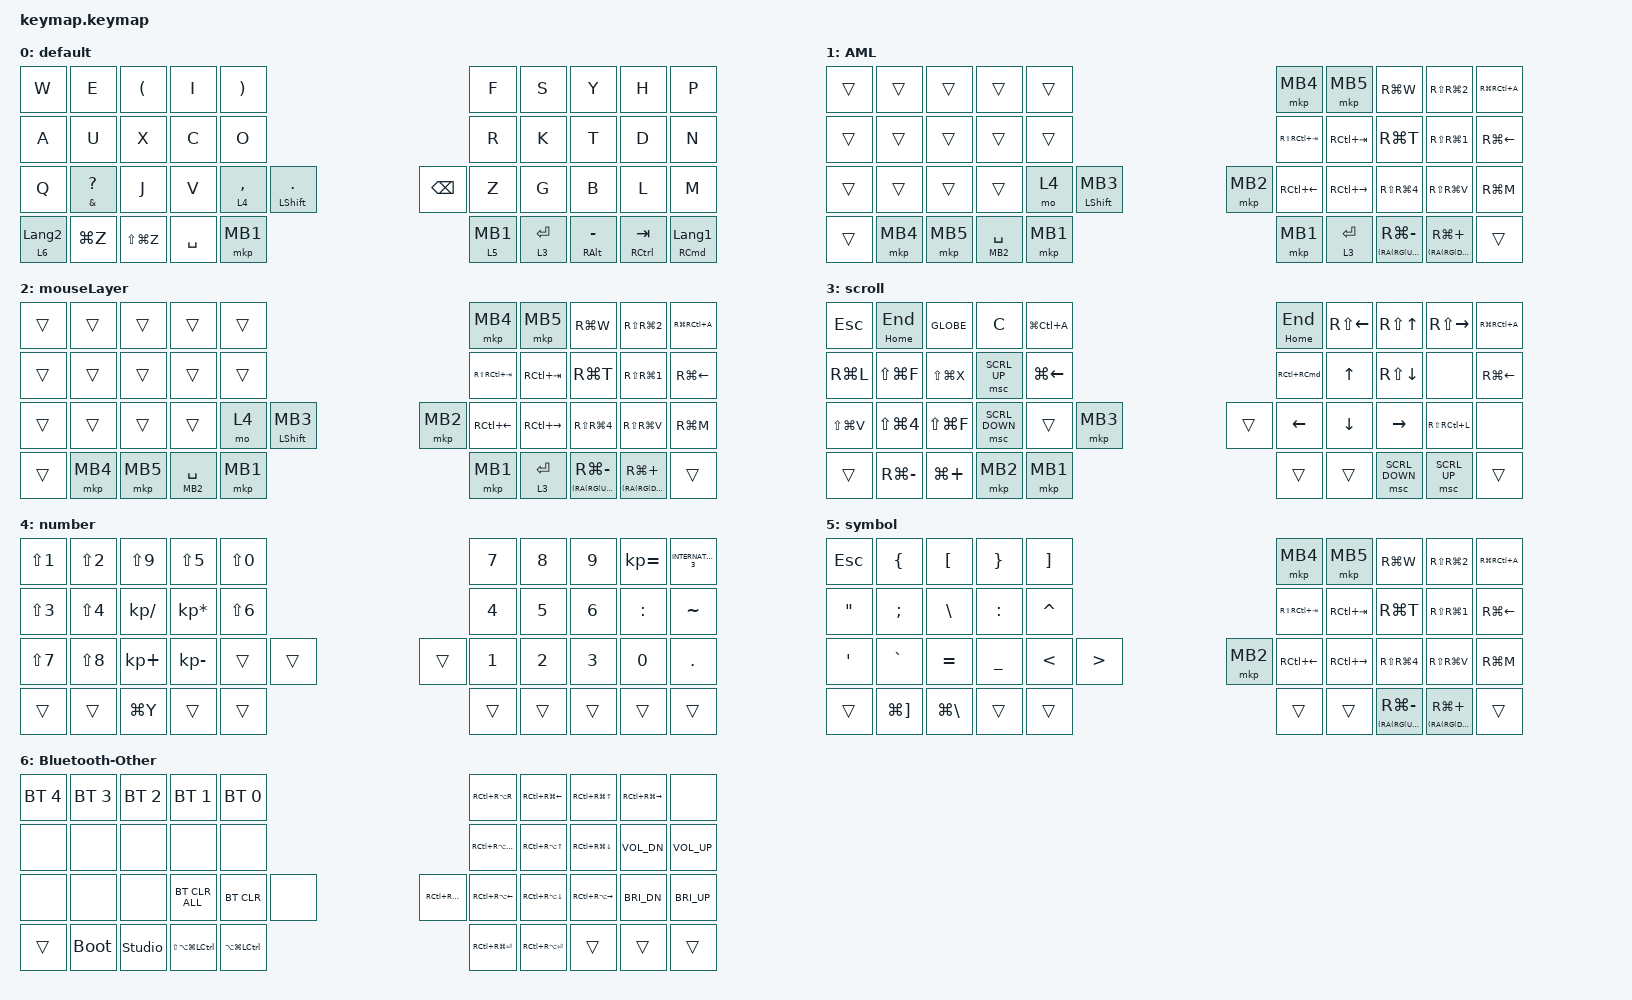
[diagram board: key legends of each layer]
#include <behaviors.dtsi>
#include <dt-bindings/zmk/bt.h>
#include <dt-bindings/zmk/keys.h>
#include <dt-bindings/zmk/pointing.h>

/ {
    behaviors {
        mouse_layer: mouse_layer {
            compatible = "zmk,behavior-hold-tap";
            #binding-cells = <2>;
            tapping-term-ms = <180>;
            bindings = <&mo>, <&mkp>;
        };

        mousekp_kp: mousekp_kp {
            compatible = "zmk,behavior-hold-tap";
            label = "MOUSEKP_KP";
            bindings = <&mkp>, <&kp>;

            #binding-cells = <2>;
            tapping-term-ms = <180>;
        };

        kp_mousekp: kp_mousekp {
            compatible = "zmk,behavior-hold-tap";
            label = "KP_MOUSEKP";
            bindings = <&kp>, <&mkp>;

            #binding-cells = <2>;
            tapping-term-ms = <180>;
        };
    };

    combos {
        compatible = "zmk,combos";

        mouse-Layer {
            bindings = <&tog 2>;
            key-positions = <15 16>;
        };

        Scroll {
            bindings = <&tog 3>;
            key-positions = <28 27>;
        };

        Number {
            bindings = <&tog 4>;
            key-positions = <6 7>;
        };

        Symbol {
            bindings = <&tog 5>;
            key-positions = <16 17>;
        };

        BluetoothOther {
            bindings = <&tog 6>;
            key-positions = <28 29>;
        };

        ResetLayer {
            bindings = <&to 0>;
            key-positions = <5 6>;
        };

        MouseBottun3 {
            bindings = <&mkp MB3>;
            key-positions = <38 26>;
        };

        Reload {
            bindings = <&kp RG(R)>;
            key-positions = <37 38>;
        };

        Delete {
            bindings = <&kp DELETE>;
            key-positions = <26 27>;
        };

        BackSpace {
            bindings = <&kp BACKSPACE>;
            key-positions = <26 15>;
        };
    };

    keymap {
        compatible = "zmk,keymap";

        default {
            bindings = <
&kp W             &kp E                   &kp LEFT_PARENTHESIS  &kp I  &kp RIGHT_PARENTHESIS                                                                      &kp F  &kp S  &kp Y                &kp H                  &kp P
&kp A             &kp U                   &kp X                 &kp C  &kp O                                                                                      &kp R  &kp K  &kp T                &kp D                  &kp N
&kp Q             &mt AMPERSAND QUESTION  &kp J                 &kp V  &lt 4 COMMA            &mt LEFT_SHIFT PERIOD                                &kp BACKSPACE  &kp Z  &kp G  &kp B                &kp L                  &kp M
&lt 6 LANGUAGE_2  &kp LG(Z)               &kp LS(LG(Z))                                       &kp SPACE              &mkp MB1  &mouse_layer 5 MB1  &lt 3 ENTER                  &mt RIGHT_ALT MINUS  &mt RIGHT_CONTROL TAB  &mt RIGHT_COMMAND LANGUAGE_1
            >;
        };

        AML {
            bindings = <
&trans  &trans    &trans    &trans  &trans                                                               &mkp MB4            &mkp MB5             &kp RG(W)                         &kp RS(RG(NUMBER_2))               &kp RG(RC(A))
&trans  &trans    &trans    &trans  &trans                                                               &kp RS(RC(TAB))     &kp RC(TAB)          &kp RG(T)                         &kp RS(RG(NUMBER_1))               &kp RG(LEFT)
&trans  &trans    &trans    &trans  &mo 4   &kp_mousekp LEFT_SHIFT MB3                      &mkp MB2     &kp RC(LEFT_ARROW)  &kp RC(RIGHT_ARROW)  &kp RS(RG(NUMBER_4))              &kp RS(RG(V))                      &kp RG(M)
&trans  &mkp MB4  &mkp MB5                  &mousekp_kp MB2 SPACE       &mkp MB1  &mkp MB1  &lt 3 ENTER                                           &mt (RA(RG(UP_ARROW))) RG(MINUS)  &mt (RA(RG(DOWN_ARROW))) RG(PLUS)  &trans
            >;
        };

        mouseLayer {
            bindings = <
&trans  &trans    &trans    &trans  &trans                                                               &mkp MB4         &mkp MB5       &kp RG(W)                   &kp RS(RG(NUMBER_2))         &kp RG(RC(A))
&trans  &trans    &trans    &trans  &trans                                                               &kp RS(RC(TAB))  &kp RC(TAB)    &kp RG(T)                   &kp RS(RG(NUMBER_1))         &kp RG(LEFT)
&trans  &trans    &trans    &trans  &mo 4   &kp_mousekp LEFT_SHIFT MB3                      &mkp MB2     &kp RC(LEFT)     &kp RC(RIGHT)  &kp RS(RG(NUMBER_4))        &kp RS(RG(V))                &kp RG(M)
&trans  &mkp MB4  &mkp MB5                  &mousekp_kp MB2 SPACE       &mkp MB1  &mkp MB1  &lt 3 ENTER                                  &mt (RA(RG(UP))) RG(MINUS)  &mt (RA(RG(DOWN))) RG(PLUS)  &trans
            >;
        };

        scroll {
            bindings = <
&kp ESC        &mt HOME END    &kp GLOBE      &kp C           &kp LG(LC(A))                                      &mt HOME END           &kp RS(LEFT)  &kp RS(UP)      &kp RS(RIGHT)  &kp RG(RC(A))
&kp RG(L)      &kp LS(LG(F))   &kp LS(LG(X))  &msc SCRL_UP    &kp LG(LEFT)                                       &kp RC(RIGHT_COMMAND)  &kp UP        &kp RS(DOWN)    &none          &kp RG(LEFT)
&kp LS(LG(V))  &kp LS(LG(N4))  &kp LS(LG(F))  &msc SCRL_DOWN  &trans         &mkp MB3                    &trans  &kp LEFT               &kp DOWN      &kp RIGHT       &kp RS(RC(L))  &none
&trans         &kp RG(MINUS)   &kp LG(PLUS)                                  &mkp MB2  &mkp MB1  &trans  &trans                                       &msc SCRL_DOWN  &msc SCRL_UP   &trans
            >;
        };

        number {
            bindings = <
&kp LS(N1)  &kp LS(N2)  &kp LS(N9)    &kp LS(N5)       &kp LS(N0)                                  &kp N7  &kp N8  &kp N9  &kp KP_EQUAL  &kp INTERNATIONAL_3
&kp LS(N3)  &kp LS(N4)  &kp KP_SLASH  &kp KP_MULTIPLY  &kp LS(N6)                                  &kp N4  &kp N5  &kp N6  &kp COLON     &kp TILDE
&kp LS(N7)  &kp LS(N8)  &kp KP_PLUS   &kp KP_MINUS     &trans      &trans                  &trans  &kp N1  &kp N2  &kp N3  &kp N0        &kp PERIOD
&trans      &trans      &kp LG(Y)                                  &trans  &trans  &trans  &trans                  &trans  &trans        &trans
            >;
        };

        symbol {
            bindings = <
&kp ESCAPE         &kp LEFT_BRACE  &kp LBKT      &kp RIGHT_BRACE  &kp RBKT                                                   &mkp MB4         &mkp MB5       &kp RG(W)                   &kp RS(RG(NUMBER_2))         &kp RG(RC(A))
&kp DOUBLE_QUOTES  &kp SEMICOLON   &kp BSLH      &kp COLON        &kp CARET                                                  &kp RS(RC(TAB))  &kp RC(TAB)    &kp RG(T)                   &kp RS(RG(NUMBER_1))         &kp RG(LEFT)
&kp APOS           &kp GRAVE       &kp EQUAL     &kp UNDERSCORE   &kp LESS_THAN  &kp GREATER_THAN                  &mkp MB2  &kp RC(LEFT)     &kp RC(RIGHT)  &kp RS(RG(NUMBER_4))        &kp RS(RG(V))                &kp RG(M)
&trans             &kp LG(RBKT)    &kp LG(BSLH)                                  &trans            &trans  &trans  &trans                                    &mt (RA(RG(UP))) RG(MINUS)  &mt (RA(RG(DOWN))) RG(PLUS)  &trans
            >;
        };

        Bluetooth-Other {
            bindings = <
&bt BT_SEL 4  &bt BT_SEL 3  &bt BT_SEL 2    &bt BT_SEL 1    &bt BT_SEL 0                                                                                                    &kp RC(RA(R))       &kp RC(RG(LEFT))  &kp RC(RG(UP))     &kp RC(RG(RIGHT))  &none
&none         &none         &none           &none           &none                                                                                                           &kp RC(RA(RS(UP)))  &kp RC(RA(UP))    &kp RC(RG(DOWN))   &kp C_VOL_DN       &kp C_VOLUME_UP
&none         &none         &none           &bt BT_CLR_ALL  &bt BT_CLR    &none                                                                      &kp RC(RA(BACKSPACE))  &kp RC(RA(LEFT))    &kp RC(RA(DOWN))  &kp RC(RA(RIGHT))  &kp C_BRI_DN       &kp C_BRI_UP
&trans        &bootloader   &studio_unlock                                &kp LS(LA(LG(LEFT_CONTROL)))  &kp LA(LG(LEFT_CONTROL))  &kp RC(RG(ENTER))  &kp RC(RA(ENTER))                                            &trans             &trans             &trans
            >;
        };
    };
};
